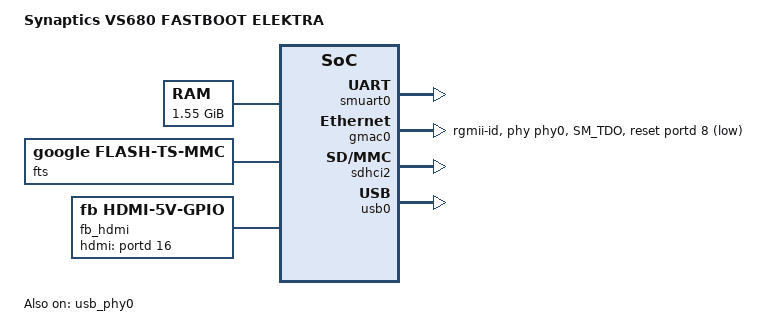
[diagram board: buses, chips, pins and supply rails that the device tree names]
/* SPDX-License-Identifier: GPL-2.0+ */
/*
 * Copyright (C) 2020 Synaptics Incorporated
 *
 * Author: Cheng Lu <Cheng.Lu@synaptics.com>
 *
 */

/dts-v1/;

#include "vs680.dtsi"
#include "include/dt-bindings/gpio/gpio.h"
#include "berlin-fastboot-gui.dtsi"

/ {
	model = "Synaptics VS680 FASTBOOT ELEKTRA";
	compatible = "Synaptics,vs680", "Synaptics,asserial";
	fastboot,product-name = "vs680";

	memory {
		device_type = "memory";
		reg = <0 0x04100000 0 0x62f00000>;
	};

	fts {
		compatible = "google,flash-ts-mmc";
	};

	chosen {
                stdout-path = &smuart0;
        };

	fb_hdmi {
		compatible = "fb,hdmi-5v-gpio";
		hdmi-gpio = <&portd 16 GPIO_ACTIVE_HIGH>;
		output-high;
	};

};

&sysmgr_pinctrl {
	gmac_prstb: gmac_prstb {
		groups = "SM_TDO";
		function = "gpio";
		drive-strength = <3>;
	};
};

&pinctrl {
	usb2_vbus_pmux: usb_vbus_pmux {
		groups = "I2S2_DI0";
		function = "gpio";
	};
};

&CPU_SLEEP_0 {
	status = "disabled";
};

&smuart0 {
	status = "okay";
};

&phy0 {
	reg = <0>;
};

&gmac0 {
	status = "okay";
	pinctrl-names = "default";
	pinctrl-0 = <&gmac_prstb>;
	max-speed = <1000>;
	phy-mode = "rgmii-id";
	phy-handle = <&phy0>;
	phy = <&phy0>;
	snps,reset-gpio = <&portd 8 GPIO_ACTIVE_LOW>;
	snps,reset-active-low;
	snps,reset-delays-us = <0 10000 50000>;
};

&sdhci2 {
	status = "okay";
	max-frequency = <50000000>;
	cap-mmc-highspeed;
	1_8v-signalling;
};

&usb_phy0 {
	status = "okay";
};

&usb0 {
	status = "okay";
};
